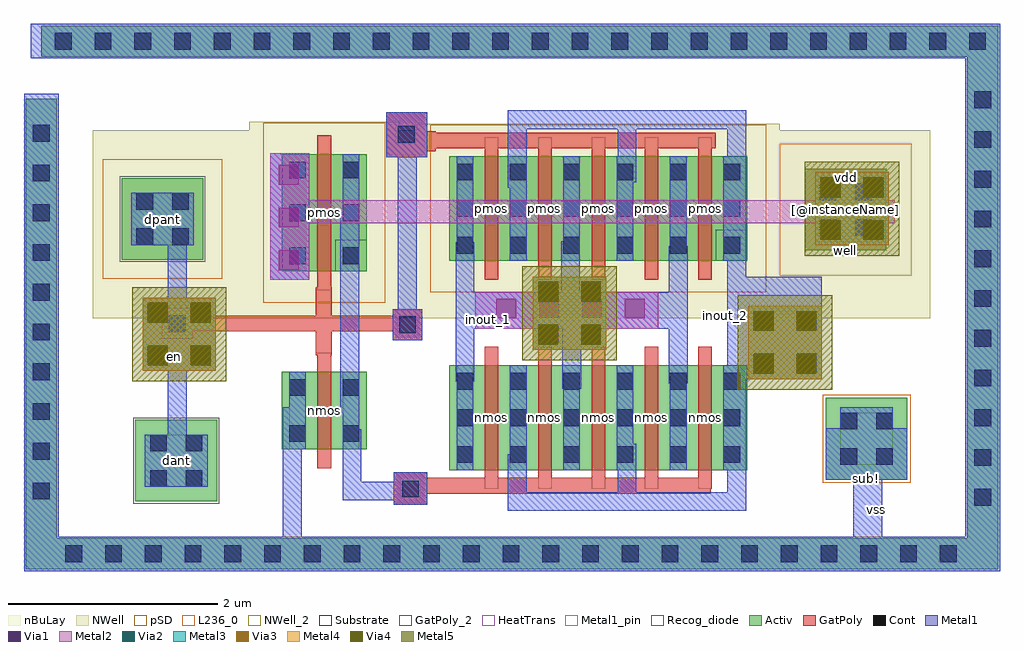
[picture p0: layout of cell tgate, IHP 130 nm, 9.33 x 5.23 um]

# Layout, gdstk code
import gdstk
lib = gdstk.Library(unit=1e-6, precision=1e-09)
def R(c, l, rs):  # rectangles x0, y0, x1, y1
    for r in rs: c.add(gdstk.rectangle(r[:2], r[2:], *l))
def A(c, l, x, y, w, h, nx, ny, dx, dy):  # array of equal rectangles
    R(c, l, [(x+i*dx, y+j*dy, x+i*dx+w, y+j*dy+h) for i in range(nx) for j in range(ny)])
def P(c, l, *ps):  # polygons
    for p in ps: c.add(gdstk.Polygon(p, *l))
Activ = (1, 0)
GatPoly = (5, 0)
GatPoly_2 = (5, 2)
Cont = (6, 0)
Metal1 = (8, 0)
Metal1_pin = (8, 2)
Metal2 = (10, 0)
pSD = (14, 0)
Via1 = (19, 0)
Via2 = (29, 0)
Metal3 = (30, 0)
NWell = (31, 0)
NWell_2 = (31, 2)
nBuLay = (32, 0)
Substrate = (40, 0)
Via3 = (49, 0)
Metal4 = (50, 0)
HeatTrans = (51, 0)
Via4 = (66, 0)
Metal5 = (67, 0)
Recog_diode = (99, 31)
L236_0 = (236, 0)

tgate = lib.new_cell('tgate')
A(tgate, Activ, -2.3, 3.4, 0.3, 0.3, 6, 2, 0.51, 2)
R(tgate, Activ, [(-5.3,3.1,-4.52,3.88), (1.3,3.31,2.08,4.09), (-2.3,3.4,0.55,4.4), (-3.9,3.6,-3.6,3.9), (-3.9,3.6,-3.09,4.34), (-3.39,3.6,-3.09,3.9), (-3.9,5.3,-3.6,5.6), (-3.9,5.3,-3.09,6.42), (-3.39,5.3,-3.09,5.6), (-2.3,5.4,0.55,6.4), (-5.43,5.41,-4.65,6.19), (1.1,5.5,1.88,6.28)])
P(tgate, Activ, [(-6.35,2.45),(-6.35,6.95),(-6.05,6.95),(-6.05,2.75),(2.65,2.75),(2.65,7.35),(-6.2,7.35),(-6.2,7.65),(2.95,7.65),(2.95,2.45)])
A(tgate, GatPoly, -1.96, 3.22, 0.13, 1.36, 5, 2, 0.51, 2)
R(tgate, GatPoly, [(-3.56,3.42,-3.43,4.52), (-3.56,5.12,-3.43,6.6), (-3.56,5.12,-3.43,6.6), (-3.56,5.12,-3.43,6.6), (-1.96,5.22,-1.83,6.58), (-1.96,5.22,-1.83,6.58)])
P(tgate, GatPoly, [(-2.83,3.07),(-2.83,3.38),(-2.51,3.38),(-2.51,3.325),(0.2,3.325),(0.2,3.175),(-2.51,3.175),(-2.51,3.07)],
  [(-2.9,6.39),(-2.9,6.82),(-2.51,6.82),(-2.51,6.64),(-2.43,6.64),(-2.43,6.625),(0.25,6.625),(0.25,6.475),(-2.43,6.475),(-2.43,6.45),(-2.51,6.45),(-2.51,6.39)],
  [(-3.575,4.5),(-3.575,4.725),(-4.75,4.725),(-4.75,4.65),(-5.05,4.65),(-5.05,4.95),(-4.75,4.95),(-4.75,4.875),(-3.575,4.875),(-3.575,5.15),(-3.425,5.15),(-3.425,4.875),(-2.84,4.875),(-2.84,4.94),(-2.56,4.94),(-2.56,4.64),(-2.84,4.64),(-2.84,4.725),(-3.425,4.725),(-3.425,4.5)])
R(tgate, GatPoly_2, [(-1.96,3.22,-1.83,4.58), (-1.96,3.22,-1.83,4.58), (-3.56,3.42,-3.43,4.52), (-3.56,3.42,-3.43,4.52)])
A(tgate, Cont, -6.28, 3.12, 0.16, 0.16, 1, 10, 0, 0.38)
A(tgate, Cont, -2.23, 3.47, 0.16, 0.16, 6, 3, 0.51, 0.35)
A(tgate, Cont, -3.83, 5.37, 0.16, 0.16, 1, 3, 0, 0.41)
A(tgate, Cont, -3.32, 5.37, 0.16, 0.16, 1, 3, 0, 0.41)
A(tgate, Cont, -2.23, 5.47, 0.16, 0.16, 6, 3, 0.51, 0.35)
A(tgate, Cont, 2.72, 6.1, 0.16, 0.16, 1, 3, 0, 0.38)
A(tgate, Cont, -6.07, 7.42, 0.16, 0.16, 24, 1, 0.38, 0)
R(tgate, Cont, [(-5.97,2.52,-5.81,2.68), (-5.59,2.52,-5.43,2.68), (-5.59,2.52,-5.43,2.68), (-5.21,2.52,-5.05,2.68), (-5.21,2.52,-5.05,2.68), (-4.83,2.52,-4.67,2.68), (-4.83,2.52,-4.67,2.68), (-4.45,2.52,-4.29,2.68), (-4.45,2.52,-4.29,2.68), (-4.07,2.52,-3.91,2.68), (-4.07,2.52,-3.91,2.68), (-3.69,2.52,-3.53,2.68), (-3.69,2.52,-3.53,2.68), (-3.31,2.52,-3.15,2.68), (-3.31,2.52,-3.15,2.68), (-2.93,2.52,-2.77,2.68), (-2.93,2.52,-2.77,2.68), (-2.55,2.52,-2.39,2.68), (-2.55,2.52,-2.39,2.68), (-2.17,2.52,-2.01,2.68), (-2.17,2.52,-2.01,2.68), (-1.79,2.52,-1.63,2.68), (-1.79,2.52,-1.63,2.68), (-1.41,2.52,-1.25,2.68), (-1.41,2.52,-1.25,2.68), (-1.03,2.52,-0.87,2.68), (-1.03,2.52,-0.87,2.68), (-0.65,2.52,-0.49,2.68), (-0.65,2.52,-0.49,2.68), (-0.27,2.52,-0.11,2.68), (-0.27,2.52,-0.11,2.68), (0.11,2.52,0.27,2.68), (0.11,2.52,0.27,2.68), (0.49,2.52,0.65,2.68), (0.49,2.52,0.65,2.68), (0.87,2.52,1.03,2.68), (0.87,2.52,1.03,2.68), (1.25,2.52,1.41,2.68), (1.25,2.52,1.41,2.68), (1.63,2.52,1.79,2.68), (1.63,2.52,1.79,2.68), (2.01,2.52,2.17,2.68), (2.01,2.52,2.17,2.68), (2.39,2.52,2.55,2.68), (2.72,3.06,2.88,3.22), (2.72,3.06,2.88,3.22), (-2.75,3.14,-2.59,3.3), (-5.16,3.24,-5,3.4), (-4.82,3.24,-4.66,3.4), (2.72,3.44,2.88,3.6), (2.72,3.44,2.88,3.6), (1.44,3.45,1.6,3.61), (1.78,3.45,1.94,3.61), (-5.16,3.58,-5,3.74), (-4.82,3.58,-4.66,3.74), (-3.83,3.67,-3.67,3.83), (-3.32,3.67,-3.16,3.83), (1.44,3.79,1.6,3.95), (1.78,3.79,1.94,3.95), (2.72,3.82,2.88,3.98), (2.72,3.82,2.88,3.98), (-3.83,4.11,-3.67,4.27), (-3.32,4.11,-3.16,4.27), (2.72,4.2,2.88,4.36), (2.72,4.2,2.88,4.36), (2.72,4.58,2.88,4.74), (2.72,4.58,2.88,4.74), (-2.78,4.71,-2.62,4.87), (-4.98,4.72,-4.82,4.88), (2.72,4.96,2.88,5.12), (2.72,4.96,2.88,5.12), (2.72,5.34,2.88,5.5), (2.72,5.34,2.88,5.5), (-5.29,5.55,-5.13,5.71), (-4.95,5.55,-4.79,5.71), (1.24,5.64,1.4,5.8), (1.58,5.64,1.74,5.8), (2.72,5.72,2.88,5.88), (2.72,5.72,2.88,5.88), (-5.29,5.89,-5.13,6.05), (-4.95,5.89,-4.79,6.05), (1.24,5.98,1.4,6.14), (1.58,5.98,1.74,6.14), (2.72,6.1,2.88,6.26), (-2.79,6.53,-2.63,6.69)])
A(tgate, Metal1, -2.23, 3.4, 0.16, 1, 6, 1, 0.51, 0)
A(tgate, Metal1, -1.72, 5.4, 0.16, 1, 5, 1, 0.51, 0)
R(tgate, Metal1, [(-5.21,3.24,-4.61,3.74), (1.44,3.4,1.94,4), (-3.83,3.6,-3.67,4.34), (-3.32,3.6,-3.16,4.34), (-3.34,3.95,-3.16,5.85), (0.56,4.27,1.26,4.97), (0.56,4.27,1.26,4.97), (-5.23,4.35,-4.53,5.05), (-5.23,4.35,-4.53,5.05), (-3.83,5.3,-3.67,6.42), (-3.83,5.3,-3.67,6.42), (-3.83,5.3,-3.67,6.42), (-3.32,5.3,-3.16,6.42), (-3.32,5.3,-3.16,6.42), (-3.32,5.3,-3.16,6.42), (-2.23,5.4,-2.07,6.4), (-2.23,5.4,-2.07,6.4), (-2.23,5.4,-2.07,6.4), (-1.72,5.4,-1.56,6.4), (-1.72,5.4,-1.56,6.4), (-5.34,5.55,-4.74,6.05), (1.2,5.55,1.9,6.25), (1.24,5.59,1.74,6.19)])
P(tgate, Metal1, [(-6.365,2.435),(-6.365,7),(-6.035,7),(-6.035,2.765),(-3.89,2.765),(-3.89,4),(-3.71,4),(-3.71,2.765),(1.56,2.765),(1.56,3.31),(1.3,3.31),(1.3,3.8),(2.08,3.8),(2.08,3.31),(1.84,3.31),(1.84,2.765),(2.635,2.765),(2.635,7.335),(-6.3,7.335),(-6.3,7.665),(2.965,7.665),(2.965,2.435)],
  [(-1.74,3.01),(-1.74,3.55),(-1.56,3.55),(-1.56,3.19),(-0.69,3.19),(-0.69,3.65),(-0.51,3.65),(-0.51,3.19),(0.36,3.19),(0.36,6.66),(-0.51,6.66),(-0.51,6.15),(-0.69,6.15),(-0.69,6.66),(-1.56,6.66),(-1.56,6.1),(-1.74,6.1),(-1.74,6.84),(0.54,6.84),(0.54,5.25),(1.26,5.25),(1.26,4.27),(0.54,4.27),(0.54,3.01)],
  [(-4.01,5.22),(-4.01,5.635),(-4.01,5.965),(-4.01,6.43),(-3.64,6.43),(-3.64,5.22)],
  [(-4.99,3.41),(-4.99,4.65),(-5.05,4.65),(-5.05,4.95),(-4.99,4.95),(-4.99,5.85),(-4.81,5.85),(-4.81,4.95),(-4.75,4.95),(-4.75,4.65),(-4.81,4.65),(-4.81,3.41)],
  [(-1.22,4.18),(-1.22,4.75),(-2.05,4.75),(-2.06,4.75),(-2.06,4.25),(-2.24,4.25),(-2.24,5.58),(-2.06,5.58),(-2.06,5.1),(-2.05,5.1),(-1.23,5.1),(-1.23,5.59),(-1.05,5.59),(-1.05,5.1),(-0.3,5.1),(-0.2,5.1),(-0.2,5.54),(-0.02,5.54),(-0.02,4.23),(-0.2,4.23),(-0.2,4.75),(-0.26,4.75),(-0.3,4.75),(-1.04,4.75),(-1.04,4.18)],
  [(-2.83,3.07),(-2.83,3.11),(-3.32,3.11),(-3.32,3.79),(-3.14,3.79),(-3.14,3.29),(-2.83,3.29),(-2.83,3.38),(-2.51,3.38),(-2.51,3.07)],
  [(-2.84,4.64),(-2.84,4.94),(-2.79,4.94),(-2.79,6.39),(-2.9,6.39),(-2.9,6.82),(-2.51,6.82),(-2.51,6.39),(-2.61,6.39),(-2.61,4.94),(-2.56,4.94),(-2.56,4.64)])
R(tgate, Metal1_pin, [(-5.21,3.24,-4.61,3.74), (-2.23,3.4,-2.07,4.4), (-2.23,3.4,-2.07,4.4), (-1.72,3.4,-1.56,4.4), (-1.72,3.4,-1.56,4.4), (1.44,3.45,1.94,3.95), (-3.83,3.6,-3.67,4.34), (-3.83,3.6,-3.67,4.34), (-3.32,3.6,-3.16,4.34), (-3.32,3.6,-3.16,4.34), (-5.34,5.55,-4.74,6.05), (1.24,5.59,1.74,6.19)])
R(tgate, Metal2, [(0.56,4.27,1.26,4.97), (0.56,4.27,1.26,4.97), (-5.23,4.35,-4.53,5.05), (-5.23,4.35,-4.53,5.05), (-1.5,4.55,-0.8,5.25), (-1.5,4.55,-0.8,5.25), (-2.05,4.75,-0.3,5.1), (1.2,5.55,1.9,6.25)])
P(tgate, Metal2, [(-4.01,5.22),(-4.01,6.43),(-3.64,6.43),(-3.64,5.98),(1.96,5.98),(1.96,5.76),(-3.64,5.76),(-3.64,5.22)])
R(tgate, pSD, [(1.27,3.28,2.11,4.12), (-4.08,5,-2.91,6.72), (-2.48,5.1,0.73,6.7), (-5.61,5.23,-4.47,6.37)])
P(tgate, pSD, [(-6.365,2.435),(-6.365,7),(-6.04,7),(-6.035,7),(-6.035,2.765),(2.635,2.765),(2.635,7.335),(-6.3,7.335),(-6.3,7.665),(2.965,7.665),(2.965,2.435)])
A(tgate, Via1, -1.85, 4.85, 0.19, 0.19, 4, 1, 0.41, 0)
A(tgate, Via1, -3.93, 5.31, 0.19, 0.19, 1, 3, 0, 0.41)
R(tgate, Via1, [(0.61,4.32,0.8,4.51), (1.02,4.32,1.21,4.51), (-5.18,4.4,-4.99,4.59), (-4.77,4.4,-4.58,4.59), (0.61,4.73,0.8,4.92), (1.02,4.73,1.21,4.92), (-5.18,4.81,-4.99,5), (-4.77,4.81,-4.58,5), (1.25,5.6,1.44,5.79), (1.66,5.6,1.85,5.79), (1.25,6.01,1.44,6.2), (1.66,6.01,1.85,6.2)])
R(tgate, Via2, [(0.61,4.32,0.8,4.51), (0.61,4.32,0.8,4.51), (1.02,4.32,1.21,4.51), (1.02,4.32,1.21,4.51), (-5.18,4.4,-4.99,4.59), (-5.18,4.4,-4.99,4.59), (-4.77,4.4,-4.58,4.59), (-4.77,4.4,-4.58,4.59), (-1.45,4.6,-1.26,4.79), (-1.04,4.6,-0.85,4.79), (0.61,4.73,0.8,4.92), (0.61,4.73,0.8,4.92), (1.02,4.73,1.21,4.92), (1.02,4.73,1.21,4.92), (-5.18,4.81,-4.99,5), (-5.18,4.81,-4.99,5), (-4.77,4.81,-4.58,5), (-4.77,4.81,-4.58,5), (-1.45,5.01,-1.26,5.2), (-1.04,5.01,-0.85,5.2), (1.25,5.6,1.44,5.79), (1.66,5.6,1.85,5.79), (1.25,6.01,1.44,6.2), (1.66,6.01,1.85,6.2)])
R(tgate, Metal3, [(0.56,4.27,1.26,4.97), (0.56,4.27,1.26,4.97), (-5.23,4.35,-4.53,5.05), (-5.23,4.35,-4.53,5.05), (-1.5,4.55,-0.8,5.25), (-1.5,4.55,-0.8,5.25), (1.2,5.55,1.9,6.25)])
R(tgate, NWell, [(-5.71,4.85,2.3,6.65), (-4.21,4.99,-2.78,6.73), (-2.61,5.09,0.86,6.71), (0.86,5.26,2.12,6.52)])
R(tgate, NWell_2, [(1.1,5.5,1.88,6.28)])
R(tgate, nBuLay, [(0.86,5.26,2.12,6.52)])
R(tgate, Substrate, [(1.3,3.31,2.08,4.09), (-3.39,5.3,-3.09,5.6), (-3.39,5.3,-3.09,5.6), (0.25,5.4,0.55,5.7), (0.25,5.4,0.55,5.7)])
R(tgate, Via3, [(0.61,4.32,0.8,4.51), (0.61,4.32,0.8,4.51), (1.02,4.32,1.21,4.51), (1.02,4.32,1.21,4.51), (-5.18,4.4,-4.99,4.59), (-5.18,4.4,-4.99,4.59), (-4.77,4.4,-4.58,4.59), (-4.77,4.4,-4.58,4.59), (-1.45,4.6,-1.26,4.79), (-1.04,4.6,-0.85,4.79), (0.61,4.73,0.8,4.92), (0.61,4.73,0.8,4.92), (1.02,4.73,1.21,4.92), (1.02,4.73,1.21,4.92), (-5.18,4.81,-4.99,5), (-5.18,4.81,-4.99,5), (-4.77,4.81,-4.58,5), (-4.77,4.81,-4.58,5), (-1.45,5.01,-1.26,5.2), (-1.04,5.01,-0.85,5.2), (1.25,5.6,1.44,5.79), (1.66,5.6,1.85,5.79), (1.25,6.01,1.44,6.2), (1.66,6.01,1.85,6.2)])
R(tgate, Metal4, [(0.56,4.27,1.26,4.97), (-5.23,4.35,-4.53,5.05), (-1.5,4.55,-0.8,5.25), (1.2,5.55,1.9,6.25)])
A(tgate, HeatTrans, -1.96, 3.22, 0.13, 1.36, 5, 2, 0.51, 2)
R(tgate, HeatTrans, [(-3.56,3.42,-3.43,4.52), (-3.56,5.12,-3.43,6.6)])
R(tgate, Via4, [(0.61,4.32,0.8,4.51), (0.61,4.32,0.8,4.51), (1.02,4.32,1.21,4.51), (1.02,4.32,1.21,4.51), (-5.18,4.4,-4.99,4.59), (-5.18,4.4,-4.99,4.59), (-4.77,4.4,-4.58,4.59), (-4.77,4.4,-4.58,4.59), (-1.45,4.6,-1.26,4.79), (-1.04,4.6,-0.85,4.79), (0.61,4.73,0.8,4.92), (0.61,4.73,0.8,4.92), (1.02,4.73,1.21,4.92), (1.02,4.73,1.21,4.92), (-5.18,4.81,-4.99,5), (-5.18,4.81,-4.99,5), (-4.77,4.81,-4.58,5), (-4.77,4.81,-4.58,5), (-1.45,5.01,-1.26,5.2), (-1.04,5.01,-0.85,5.2), (1.25,5.6,1.44,5.79), (1.66,5.6,1.85,5.79), (1.25,6.01,1.44,6.2), (1.66,6.01,1.85,6.2)])
R(tgate, Metal5, [(0.46,4.17,1.36,5.07), (0.46,4.17,1.36,5.07), (-5.33,4.25,-4.43,5.15), (-5.33,4.25,-4.43,5.15), (-1.6,4.45,-0.7,5.35), (-1.6,4.45,-0.7,5.35), (1.1,5.45,2,6.35)])
R(tgate, Recog_diode, [(-5.32,3.08,-4.5,3.9), (-5.45,5.39,-4.63,6.21)])
R(tgate, L236_0, [(0.86,5.26,2.12,6.52)])
tgate.add(gdstk.Label('pmos', (-1.895,5.9), layer=63, texttype=0))
tgate.add(gdstk.Label('pmos', (-3.495,5.86), layer=63, texttype=0))
tgate.add(gdstk.Label('dant', (-4.91,3.49), layer=63, texttype=0))
tgate.add(gdstk.Label('well', (1.49,5.5), layer=63, texttype=0))
tgate.add(gdstk.Label('dpant', (-5.04,5.8), layer=63, texttype=0))
tgate.add(gdstk.Label('sub!', (1.69,3.32), layer=63, texttype=0))
tgate.add(gdstk.Label('nmos', (-1.895,3.9), layer=51, texttype=0))
tgate.add(gdstk.Label('nmos', (-1.385,3.9), layer=51, texttype=0))
tgate.add(gdstk.Label('nmos', (-0.875,3.9), layer=51, texttype=0))
tgate.add(gdstk.Label('nmos', (-0.365,3.9), layer=51, texttype=0))
tgate.add(gdstk.Label('nmos', (0.145,3.9), layer=51, texttype=0))
tgate.add(gdstk.Label('pmos', (-1.895,5.9), layer=51, texttype=0))
tgate.add(gdstk.Label('pmos', (-1.385,5.9), layer=51, texttype=0))
tgate.add(gdstk.Label('pmos', (-0.875,5.9), layer=51, texttype=0))
tgate.add(gdstk.Label('pmos', (-0.365,5.9), layer=51, texttype=0))
tgate.add(gdstk.Label('pmos', (0.145,5.9), layer=51, texttype=0))
tgate.add(gdstk.Label('nmos', (-3.495,3.97), layer=51, texttype=0))
tgate.add(gdstk.Label('pmos', (-3.495,5.86), layer=51, texttype=0))
tgate.add(gdstk.Label('[@instanceName]', (1.49,5.89), layer=236, texttype=1))
tgate.add(gdstk.Label('vss', (1.78,3.02), layer=8, texttype=25))
tgate.add(gdstk.Label('vdd', (1.5,6.2), layer=8, texttype=25))
tgate.add(gdstk.Label('inout_2', (0.34,4.88), layer=8, texttype=25))
tgate.add(gdstk.Label('en', (-4.93,4.49), layer=8, texttype=25))
tgate.add(gdstk.Label('inout_1', (-1.92,4.84), layer=8, texttype=25))

lib.write_gds('tgate.gds')
